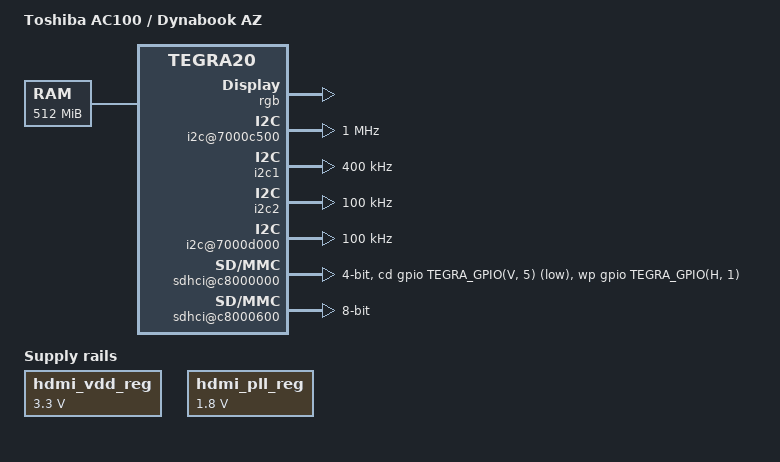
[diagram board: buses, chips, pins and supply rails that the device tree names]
/dts-v1/;

#include <dt-bindings/input/input.h>
#include "tegra20.dtsi"

/ {
	model = "Toshiba AC100 / Dynabook AZ";
	compatible = "compal,paz00", "nvidia,tegra20";

	chosen {
		stdout-path = &uarta;
	};

	aliases {
                i2c0 = "/i2c@7000d000";
                i2c1 = "/i2c@7000c000";
                i2c2 = "/i2c@7000c400";
                i2c3 = "/i2c@7000c500";
                usb0 = "/usb@c5008000";
                usb1 = "/usb@c5000000";
                usb2 = "/usb@c5004000";
		sdhci0 = "/sdhci@c8000600";
		sdhci1 = "/sdhci@c8000000";
	};

	memory {
		reg = <0x00000000 0x20000000>;
	};

	host1x {
		status = "okay";
		dc@54200000 {
			status = "okay";
			rgb {
				status = "okay";
                                nvidia,ddc-i2c-bus = <&i2c1>; // edid
				nvidia,panel = <&lcd_panel>; // fallback on edid failure
			};
		};

                /* ONLY A SINGLE CONTROLLER IS SUPPORTED IN /mach-tegra20/display.c */
/*
                hdmi {
			status = "okay";
                        vdd-supply = <&hdmi_vdd_reg>;
                        pll-supply = <&hdmi_pll_reg>;

                        nvidia,ddc-i2c-bus = <&i2c2>;
                        nvidia,hpd-gpio = <&gpio TEGRA_GPIO(N, 7)
                                GPIO_ACTIVE_HIGH>;
                };
*/

	};

	serial@70006000 {
		clock-frequency = < 216000000 >;
	};

	/* CAM_I2C_SDA: EC; Ene KB926 */ 
        i2c@7000c500 {
                status = "okay";
                clock-frequency = <1000000>;
        };


	/*
         * GEN1_I2C_SDA: Audic Codec, G sensor, TPM, Light Senor, LCD edid 
         */
        i2c1: i2c@7000c000 {
                status = "okay";
                clock-frequency = <400000>;
        };

        /* DDC_SDA_3P3: hdmi EDID */
        i2c2: i2c@7000c400 {
                status = "okay";
                clock-frequency = <100000>;
        };

        /*
         * PWR_I2C_SCL: power I2C to PMIC and temperature sensor
         */
        i2c@7000d000 {
                status = "okay";
                clock-frequency = <100000>;
        };

	sdhci@c8000000 {
		status = "okay";
		cd-gpios = <&gpio TEGRA_GPIO(V, 5) GPIO_ACTIVE_LOW>;
		wp-gpios = <&gpio TEGRA_GPIO(H, 1) GPIO_ACTIVE_HIGH>;
		power-gpios = <&gpio TEGRA_GPIO(V, 1) GPIO_ACTIVE_HIGH>;
		bus-width = <4>;
	};

	sdhci@c8000600 {
		status = "okay";
		bus-width = <8>;
	};

        regulators {
                compatible = "simple-bus";
                #address-cells = <1>;
                #size-cells = <0>;

                hdmi_vdd_reg: regulator@0 {
                        compatible = "regulator-fixed";
                        reg = <0>;
                        regulator-name = "avdd_hdmi";
                        regulator-min-microvolt = <3300000>;
                        regulator-max-microvolt = <3300000>;
                        regulator-always-on;
                };

                hdmi_pll_reg: regulator@1 {
                        compatible = "regulator-fixed";
                        reg = <1>;
                        regulator-name = "avdd_hdmi_pll";
                        regulator-min-microvolt = <1800000>;
                        regulator-max-microvolt = <1800000>;
                        regulator-always-on;
                };

	};

        /* Backup panel settings*/
	lcd_panel: panel {
               /* PAZ00 has 1024x600 */
                clock = <54030000>;
                xres = <1024>;
                yres = <600>;
                right-margin = <160>;
                left-margin = <24>;
                hsync-len = <136>;
                upper-margin = <3>;
                lower-margin = <61>;
                vsync-len = <6>;
		hsync-active-high;
		nvidia,bits-per-pixel = <16>;
		nvidia,pwm = <&pwm 0 0>;
		nvidia,backlight-enable-gpios = <&gpio TEGRA_GPIO(U, 4)
							GPIO_ACTIVE_HIGH>;
		nvidia,lvds-shutdown-gpios = <&gpio TEGRA_GPIO(M, 6)
							GPIO_ACTIVE_HIGH>;
		nvidia,backlight-vdd-gpios = <&gpio TEGRA_GPIO(W, 0)
							GPIO_ACTIVE_HIGH>;
		nvidia,panel-vdd-gpios = <&gpio TEGRA_GPIO(A, 4)
							GPIO_ACTIVE_HIGH>;
		nvidia,panel-timings = <400 4 203 17 15>;
	};
};
